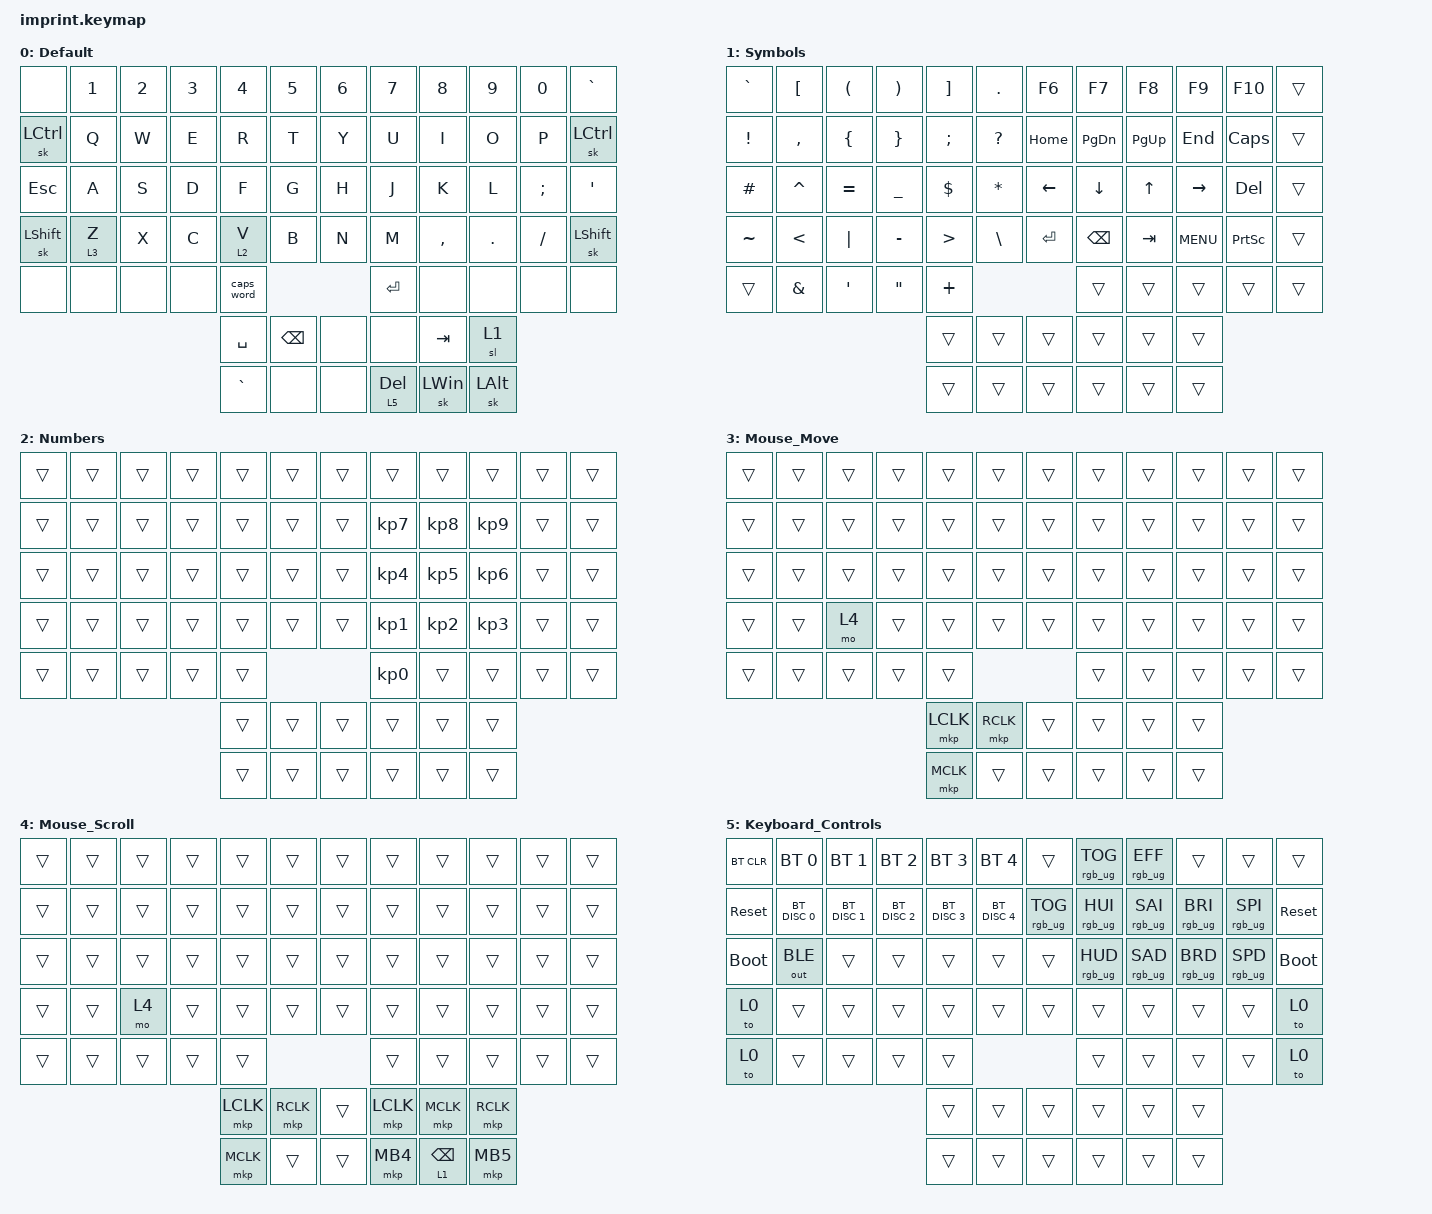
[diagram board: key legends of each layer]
#include <input/processors.dtsi>
#include <dt-bindings/zmk/input_transform.h>
#include <behaviors.dtsi>
#include <dt-bindings/zmk/bt.h>
#include <dt-bindings/zmk/keys.h>
#include <dt-bindings/zmk/outputs.h>
#include <dt-bindings/zmk/pointing.h>
#include <dt-bindings/zmk/rgb.h>

/ {
    chosen { zmk,matrix-transform = &imprint_number_row_full_bottom_row; };

    behaviors {
        hold_tap: hold_tap {
            compatible = "zmk,behavior-hold-tap";
            label = "HOLD_TAP";
            bindings = <&mo>, <&kp>;

            #binding-cells = <2>;
            tapping-term-ms = <150>;
            flavor = "balanced";
        };

        double_tap_backspace: double_tap_backspace {
            compatible = "zmk,behavior-tap-dance";
            label = "DOUBLE_TAP_BACKSPACE";
            #binding-cells = <0>;
            bindings = <&kp BACKSPACE>, <&kp LC(BACKSPACE)>;

            tapping-term-ms = <252>;
        };

        kp_chars: kp_chars {
            compatible = "zmk,behavior-hold-tap";
            label = "KP_CHARS";
            bindings = <&kp>, <&kp>;

            #binding-cells = <2>;
            tapping-term-ms = <150>;
            flavor = "tap-preferred";
        };

        terminal_double_tap: terminal_double_tap {
            compatible = "zmk,behavior-tap-dance";
            label = "TERMINAL_DOUBLE_TAP";
            #binding-cells = <0>;
            bindings = <&kp_chars_0ms LEFT_GUI ENTER>, <&kp LG(ENTER)>;

            tapping-term-ms = <250>;
        };

        kp_chars_0ms: kp_chars_0ms {
            compatible = "zmk,behavior-hold-tap";
            label = "KP_CHARS_0MS";
            bindings = <&kp>, <&kp>;

            #binding-cells = <2>;
            tapping-term-ms = <1>;
            flavor = "tap-preferred";
        };
    };

    combos {
        compatible = "zmk,combos";

        word_caps {
            bindings = <&caps_word>;
            key-positions = <76 81 63 58>;
            timeout-ms = <50>;
            require-prior-idle-ms = <150>;
        };

        jk-esc {
            bindings = <&kp ESCAPE>;
            key-positions = <33 32>;
            timeout-ms = <50>;
            require-prior-idle-ms = <150>;
        };
    };

    keymap {
        compatible = "zmk,keymap";

        Default {
            bindings = <
&none           &kp N1         &kp N2  &kp N3  &kp N4      &kp N5                  &kp N6        &kp N7        &kp N8        &kp N9      &kp N0         &kp GRAVE
&sk LCTRL       &kp Q          &kp W   &kp E   &kp R       &kp T                   &kp Y         &kp U         &kp I         &kp O       &kp P          &sk LCTRL
&kp ESCAPE      &kp A          &kp S   &kp D   &kp F       &kp G                   &kp H         &kp J         &kp K         &kp L       &kp SEMICOLON  &kp SQT
&sk LEFT_SHIFT  &hold_tap 3 Z  &kp X   &kp C   &lt 2 V     &kp B                   &kp N         &kp M         &kp COMMA     &kp PERIOD  &kp SLASH      &sk LEFT_SHIFT
&none           &none          &none   &none   &caps_word                                        &kp ENTER     &none         &none       &none          &none
                                               &kp SPACE   &kp BACKSPACE  &none    &none         &kp TAB       &sl 1
                                               &kp GRAVE   &none          &none    &lt 5 DELETE  &sk LEFT_WIN  &sk LEFT_ALT
            >;
        };

        Symbols {
            bindings = <
&kp GRAVE        &kp LEFT_BRACKET  &kp LEFT_PARENTHESIS  &kp RIGHT_PARENTHESIS  &kp RIGHT_BRACKET  &kp PERIOD               &kp F6          &kp F7          &kp F8        &kp F9      &kp F10          &trans
&kp EXCLAMATION  &kp COMMA         &kp LEFT_BRACE        &kp RIGHT_BRACE        &kp SEMICOLON      &kp QUESTION             &kp HOME        &kp PAGE_DOWN   &kp PG_UP     &kp END     &kp CAPSLOCK     &trans
&kp HASH         &kp CARET         &kp EQUAL             &kp UNDERSCORE         &kp DOLLAR         &kp ASTERISK             &kp LEFT_ARROW  &kp DOWN_ARROW  &kp UP_ARROW  &kp RIGHT   &kp DELETE       &trans
&kp TILDE        &kp LESS_THAN     &kp PIPE              &kp MINUS              &kp GREATER_THAN   &kp BACKSLASH            &kp ENTER       &kp BACKSPACE   &kp TAB       &kp K_MENU  &kp PRINTSCREEN  &trans
&trans           &kp AMPERSAND     &kp SQT               &kp DOUBLE_QUOTES      &kp PLUS                                                    &trans          &trans        &trans      &trans           &trans
                                                                                &trans             &trans         &trans    &trans          &trans          &trans
                                                                                &trans             &trans         &trans    &trans          &trans          &trans
            >;
        };

        Numbers {
            bindings = <
&trans  &trans  &trans  &trans  &trans  &trans            &trans  &trans           &trans           &trans           &trans  &trans
&trans  &trans  &trans  &trans  &trans  &trans            &trans  &kp KP_NUMBER_7  &kp KP_NUMBER_8  &kp KP_NUMBER_9  &trans  &trans
&trans  &trans  &trans  &trans  &trans  &trans            &trans  &kp KP_NUMBER_4  &kp KP_NUMBER_5  &kp KP_NUMBER_6  &trans  &trans
&trans  &trans  &trans  &trans  &trans  &trans            &trans  &kp KP_NUMBER_1  &kp KP_NUMBER_2  &kp KP_NUMBER_3  &trans  &trans
&trans  &trans  &trans  &trans  &trans                            &kp KP_NUMBER_0  &trans           &trans           &trans  &trans
                                &trans  &trans  &trans    &trans  &trans           &trans
                                &trans  &trans  &trans    &trans  &trans           &trans
            >;
        };

        Mouse_Move {
            bindings = <
&trans  &trans  &trans  &trans  &trans     &trans               &trans  &trans  &trans  &trans  &trans  &trans
&trans  &trans  &trans  &trans  &trans     &trans               &trans  &trans  &trans  &trans  &trans  &trans
&trans  &trans  &trans  &trans  &trans     &trans               &trans  &trans  &trans  &trans  &trans  &trans
&trans  &trans  &mo 4   &trans  &trans     &trans               &trans  &trans  &trans  &trans  &trans  &trans
&trans  &trans  &trans  &trans  &trans                                  &trans  &trans  &trans  &trans  &trans
                                &mkp LCLK  &mkp RCLK  &trans    &trans  &trans  &trans
                                &mkp MCLK  &trans     &trans    &trans  &trans  &trans
            >;
        };

        Mouse_Scroll {
            bindings = <
&trans  &trans  &trans  &trans  &trans     &trans               &trans     &trans                 &trans     &trans  &trans  &trans
&trans  &trans  &trans  &trans  &trans     &trans               &trans     &trans                 &trans     &trans  &trans  &trans
&trans  &trans  &trans  &trans  &trans     &trans               &trans     &trans                 &trans     &trans  &trans  &trans
&trans  &trans  &mo 4   &trans  &trans     &trans               &trans     &trans                 &trans     &trans  &trans  &trans
&trans  &trans  &trans  &trans  &trans                                     &trans                 &trans     &trans  &trans  &trans
                                &mkp LCLK  &mkp RCLK  &trans    &mkp LCLK  &mkp MCLK              &mkp RCLK
                                &mkp MCLK  &trans     &trans    &mkp MB4   &hold_tap 1 BACKSPACE  &mkp MB5
            >;
        };

        Keyboard_Controls {
            bindings = <
&bt BT_CLR   &bt BT_SEL 0   &bt BT_SEL 1   &bt BT_SEL 2   &bt BT_SEL 3   &bt BT_SEL 4             &trans           &rgb_ug RGB_TOG  &rgb_ug RGB_EFF  &trans           &trans           &trans
&sys_reset   &bt BT_DISC 0  &bt BT_DISC 1  &bt BT_DISC 2  &bt BT_DISC 3  &bt BT_DISC 4            &rgb_ug RGB_TOG  &rgb_ug RGB_HUI  &rgb_ug RGB_SAI  &rgb_ug RGB_BRI  &rgb_ug RGB_SPI  &sys_reset
&bootloader  &out OUT_BLE   &trans         &trans         &trans         &trans                   &trans           &rgb_ug RGB_HUD  &rgb_ug RGB_SAD  &rgb_ug RGB_BRD  &rgb_ug RGB_SPD  &bootloader
&to 0        &trans         &trans         &trans         &trans         &trans                   &trans           &trans           &trans           &trans           &trans           &to 0
&to 0        &trans         &trans         &trans         &trans                                                   &trans           &trans           &trans           &trans           &to 0
                                                          &trans         &trans         &trans    &trans           &trans           &trans
                                                          &trans         &trans         &trans    &trans           &trans           &trans
            >;
        };
    };

    conditional_layers { compatible = "zmk,conditional-layers"; };
};

&trackball_peripheral_listener {
    sniper {
        layers = <3>;
        input-processors = <&zip_xy_scaler 1 5>;
    };

    scroller {
        layers = <4>;
        input-processors =
            <&zip_xy_scaler 1 3>,
            <&zip_xy_to_scroll_mapper>,
            <&zip_scroll_transform INPUT_TRANSFORM_Y_INVERT>;
    };
};
